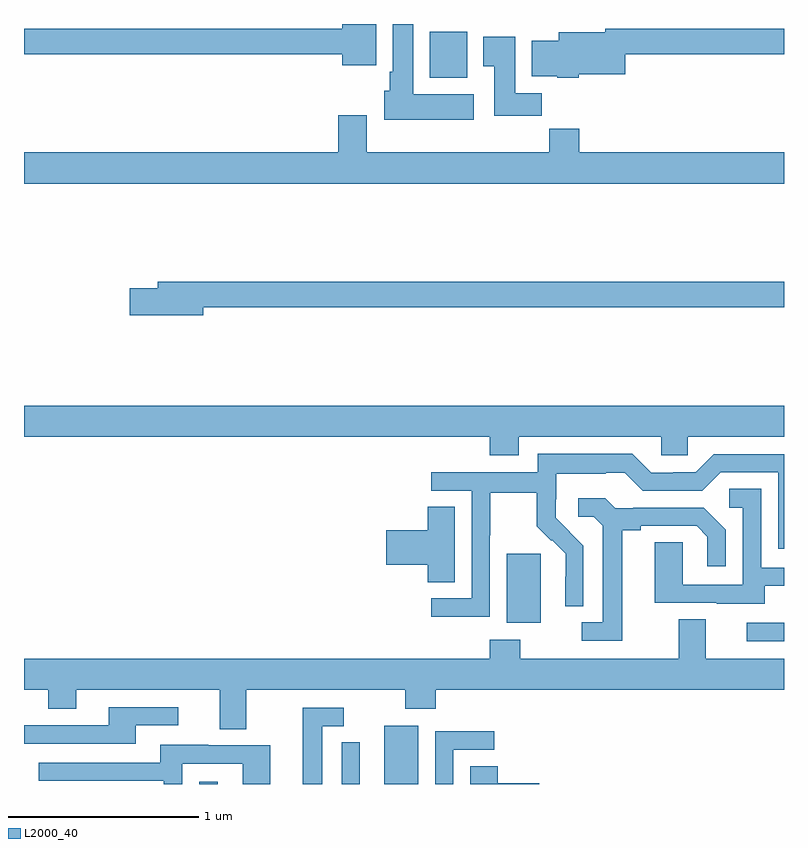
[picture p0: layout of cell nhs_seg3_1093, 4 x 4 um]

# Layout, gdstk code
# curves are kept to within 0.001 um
import gdstk
lib = gdstk.Library(unit=1e-6, precision=1e-09)
def R(c, l, rs):  # rectangles x0, y0, x1, y1
    for r in rs: c.add(gdstk.rectangle(r[:2], r[2:], *l))
def P(c, l, *ps):  # polygons
    for p in ps: c.add(gdstk.Polygon(p, *l))
L2000_40 = (2000, 40)

nhs_seg3_1093 = lib.new_cell('nhs_seg3_1093')
R(nhs_seg3_1093, L2000_40, [(167.922,720.4,168.019,720.412), (168.896,720.4,169.075,720.706), (170.805,721.152,171,721.248), (169.541,721.25,169.72,721.611), (169.136,724.118,169.333,724.36)])
P(nhs_seg3_1093, L2000_40, [(168.853,724.4),(168.674,724.4),(168.674,724.376),(167,724.376),(167,724.24),(168.674,724.24),(168.674,724.184),(168.853,724.184)],
  [(169.366,724.03),(169.048,724.03),(169.048,724.4),(168.941,724.4),(168.941,724.15),(168.926,724.15),(168.926,724.05),(168.896,724.05),(168.896,723.896),(169.366,723.896)],
  [(169.92,724.136),(170.164,724.136),(170.164,724.24),(171,724.24),(171,724.376),(170.06,724.376),(170.06,724.357),(169.814,724.357),(169.814,724.312),(169.673,724.312),(169.673,724.124),(169.806,724.124),(169.806,724.118),(169.92,724.118)],
  [(169.724,724.036),(169.585,724.036),(169.585,724.333),(169.418,724.333),(169.418,724.177),(169.475,724.177),(169.475,723.918),(169.724,723.918)],
  [(171,723.724),(169.922,723.724),(169.922,723.848),(169.765,723.848),(169.765,723.724),(168.805,723.724),(168.805,723.919),(168.653,723.919),(168.653,723.724),(167,723.724),(167,723.56),(171,723.56)],
  [(167.944,722.908),(171,722.908),(171,723.044),(167.705,723.044),(167.705,723.008),(167.556,723.008),(167.556,722.866),(167.944,722.866)],
  [(169.603,722.228),(170.355,722.228),(170.355,722.13),(170.493,722.13),(170.493,722.228),(171,722.228),(171,722.392),(167,722.392),(167,722.228),(169.451,722.228),(169.451,722.129),(169.603,722.129)],
  [(169.452,721.708),(169.455,721.708),(169.455,721.932),(169.699,721.932),(169.699,721.757),(169.776,721.68),(169.779,721.683),(169.85,721.613),(169.85,721.49),(169.848,721.49),(169.848,721.336),(169.944,721.336),(169.944,721.654),(169.798,721.802),(169.798,721.899),(169.8,721.899),(169.8,722.033),(170.063,722.033),(170.063,722.037),(170.163,722.037),(170.256,721.944),(170.571,721.944),(170.667,722.04),(170.97,722.04),(170.97,721.638),(171,721.638),(171,722.136),(170.631,722.136),(170.535,722.04),(170.417,722.04),(170.417,722.037),(170.301,722.037),(170.201,722.137),(169.704,722.137),(169.704,722.04),(169.143,722.04),(169.143,721.944),(169.356,721.944),(169.356,721.377),(169.143,721.377),(169.143,721.279),(169.452,721.279)],
  [(170.899,721.443),(171,721.443),(171,721.539),(170.88,721.539),(170.88,721.955),(170.712,721.955),(170.712,721.854),(170.784,721.854),(170.784,721.449),(170.466,721.449),(170.466,721.673),(170.321,721.673),(170.321,721.353),(170.645,721.353),(170.645,721.349),(170.899,721.349)],
  [(170.149,721.736),(170.245,721.736),(170.245,721.758),(170.54,721.758),(170.597,721.701),(170.597,721.545),(170.694,721.545),(170.694,721.738),(170.578,721.854),(170.206,721.854),(170.206,721.851),(170.112,721.851),(170.06,721.903),(169.917,721.903),(169.917,721.806),(169.998,721.806),(170.045,721.759),(170.045,721.251),(169.935,721.251),(169.935,721.155),(170.149,721.155)],
  [(169.267,721.859),(169.124,721.859),(169.124,721.736),(168.906,721.736),(168.906,721.553),(169.124,721.553),(169.124,721.462),(169.267,721.462)],
  [(168.169,720.896),(169.006,720.896),(169.006,720.797),(169.166,720.797),(169.166,720.896),(171,720.896),(171,721.06),(170.587,721.06),(170.587,721.268),(170.447,721.268),(170.447,721.06),(169.611,721.06),(169.611,721.159),(169.451,721.159),(169.451,721.06),(167,721.06),(167,720.896),(167.128,720.896),(167.128,720.797),(167.275,720.797),(167.275,720.896),(168.029,720.896),(168.029,720.688),(168.169,720.688)],
  [(167.587,720.708),(167.812,720.708),(167.812,720.804),(167.447,720.804),(167.447,720.708),(167,720.708),(167,720.612),(167.587,720.612)],
  [(168.571,720.705),(168.682,720.705),(168.682,720.801),(168.467,720.801),(168.467,720.4),(168.571,720.4)],
  [(169.26,720.579),(169.474,720.579),(169.474,720.678),(169.164,720.678),(169.164,720.4),(169.26,720.4)],
  [(168.767,720.466),(168.768,720.466),(168.768,720.62),(168.672,720.62),(168.672,720.4),(168.767,720.4)],
  [(167.832,720.507),(168.15,720.507),(168.15,720.4),(168.295,720.4),(168.295,720.603),(167.971,720.603),(167.971,720.607),(167.717,720.607),(167.717,720.513),(167.077,720.513),(167.077,720.417),(167.736,720.417),(167.736,720.4),(167.832,720.4)],
  [(169.711,720.404),(169.493,720.404),(169.493,720.494),(169.349,720.494),(169.349,720.4),(169.711,720.4)])

lib.write_gds('nhs_seg3_1093.gds')
